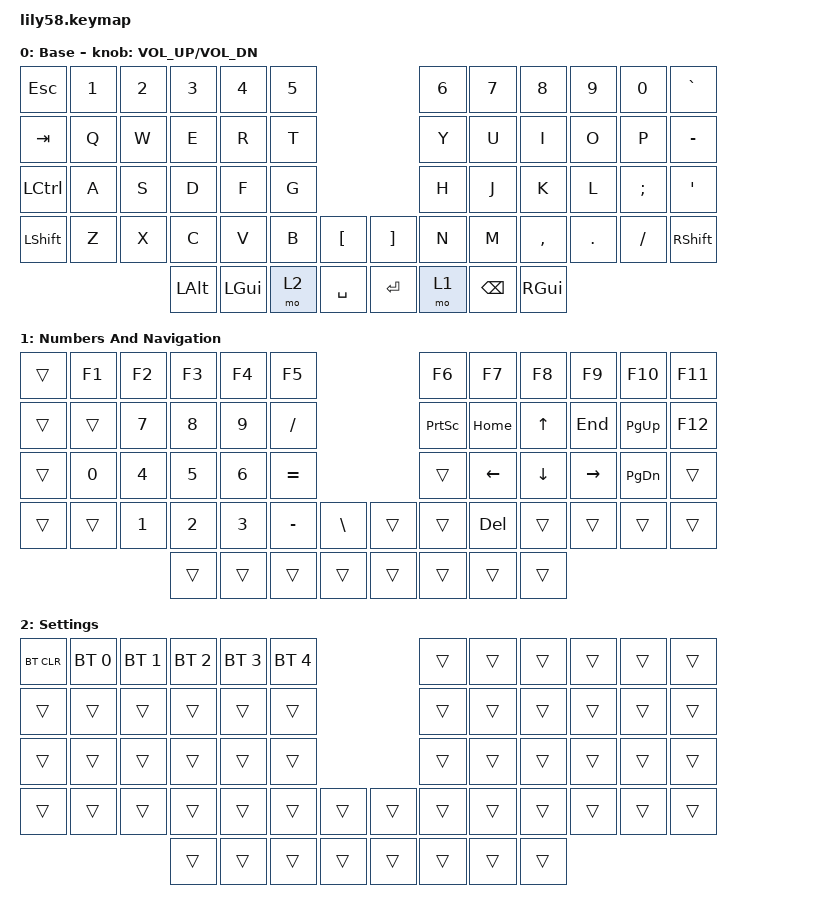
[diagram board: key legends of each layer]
/*
 * Copyright (c) 2020 The ZMK Contributors
 *
 * SPDX-License-Identifier: MIT
 */

#include <behaviors.dtsi>
#include <dt-bindings/zmk/bt.h>
#include <dt-bindings/zmk/keys.h>

/ {
    keymap {
        compatible = "zmk,keymap";

        default_layer {
            // ------------------------------------------------------------------------------------------------------------
            // |  ESC  |  1  |  2  |  3   |  4   |  5   |                   |  6   |  7    |  8    |  9   |   0   |   `   |
            // |  TAB  |  Q  |  W  |  E   |  R   |  T   |                   |  Y   |  U    |  I    |  O   |   P   |   -   |
            // |  CTRL |  A  |  S  |  D   |  F   |  G   |                   |  H   |  J    |  K    |  L   |   ;   |   '   |
            // | SHIFT |  Z  |  X  |  C   |  V   |  B   |   "["  |  |  "]"  |  N   |  M    |  ,    |  .   |   /   | SHIFT |
            //                     | ALT  | GUI  | LOWER|  SPACE |  | ENTER | RAISE| BSPC  | GUI   |

            display-name = "Base";
            bindings = <
&kp ESC         &kp N1  &kp N2  &kp N3    &kp N4    &kp N5                         &kp N6  &kp N7    &kp N8     &kp N9   &kp N0    &kp GRAVE
&kp TAB         &kp Q   &kp W   &kp E     &kp R     &kp T                          &kp Y   &kp U     &kp I      &kp O    &kp P     &kp MINUS
&kp LCTRL       &kp A   &kp S   &kp D     &kp F     &kp G                          &kp H   &kp J     &kp K      &kp L    &kp SEMI  &kp SQT
&kp LEFT_SHIFT  &kp Z   &kp X   &kp C     &kp V     &kp B   &kp LBKT     &kp RBKT  &kp N   &kp M     &kp COMMA  &kp DOT  &kp FSLH  &kp RSHFT
                                &kp LALT  &kp LGUI  &mo 2   &kp SPACE    &kp RET   &mo 1   &kp BSPC  &kp RGUI
            >;

            sensor-bindings = <&inc_dec_kp C_VOL_UP C_VOL_DN>;
        };

        numbers_and_navigation {
            bindings = <
&trans  &kp F1  &kp F2        &kp F3        &kp F4        &kp F5                              &kp F6           &kp F7      &kp F8    &kp F9     &kp F10        &kp F11
&trans  &trans  &kp NUMBER_7  &kp NUMBER_8  &kp N9        &kp SLASH                           &kp PRINTSCREEN  &kp HOME    &kp UP    &kp END    &kp PAGE_UP    &kp F12
&trans  &kp N0  &kp NUMBER_4  &kp N5        &kp NUMBER_6  &kp EQUAL                           &trans           &kp LEFT    &kp DOWN  &kp RIGHT  &kp PAGE_DOWN  &trans
&trans  &trans  &kp NUMBER_1  &kp NUMBER_2  &kp NUMBER_3  &kp MINUS  &kp BACKSLASH    &trans  &trans           &kp DELETE  &trans    &trans     &trans         &trans
                              &trans        &trans        &trans     &trans           &trans  &trans           &trans      &trans
            >;

            label = "Numbers And Navigation";
        };

        settings {
            bindings = <
&bt BT_CLR  &bt BT_SEL 0  &bt BT_SEL 1  &bt BT_SEL 2  &bt BT_SEL 3  &bt BT_SEL 4                    &trans  &trans  &trans  &trans  &trans  &trans
&trans      &trans        &trans        &trans        &trans        &trans                          &trans  &trans  &trans  &trans  &trans  &trans
&trans      &trans        &trans        &trans        &trans        &trans                          &trans  &trans  &trans  &trans  &trans  &trans
&trans      &trans        &trans        &trans        &trans        &trans        &trans    &trans  &trans  &trans  &trans  &trans  &trans  &trans
                                        &trans        &trans        &trans        &trans    &trans  &trans  &trans  &trans
            >;

            label = "Settings";
        };

        extra_1 {
            status = "reserved";
        };

        extra_2 {
            status = "reserved";
        };

        extra_3 {
            status = "reserved";
        };
    };
};
